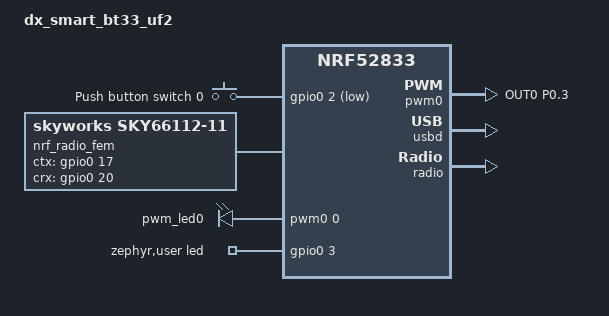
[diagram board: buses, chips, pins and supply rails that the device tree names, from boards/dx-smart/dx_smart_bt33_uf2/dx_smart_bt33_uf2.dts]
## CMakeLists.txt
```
#
# Copyright (c) 2018 Nordic Semiconductor
#
# SPDX-License-Identifier: LicenseRef-Nordic-5-Clause
#
cmake_minimum_required(VERSION 3.20.0)

# Configure VERSION from repository branch and tag
find_package(Git)

if(GIT_EXECUTABLE)
  execute_process(
    COMMAND ${GIT_EXECUTABLE} branch --show-current
    WORKING_DIRECTORY ${CMAKE_SOURCE_DIR}
    OUTPUT_VARIABLE GIT_BRANCH
    )
  execute_process(
    COMMAND ${GIT_EXECUTABLE} describe --dirty --tags --long --match [0-9]*.[0-9]*.[0-9]*
    WORKING_DIRECTORY ${CMAKE_SOURCE_DIR}
    OUTPUT_VARIABLE GIT_VERSION
    )
endif()

if(GIT_BRANCH STREQUAL "")
  set(GIT_BRANCH unknown)
  message(WARNING "Unknown Git Branch")
endif()

if(GIT_VERSION STREQUAL "")
  set(GIT_VERSION 0.0.0-0)
  message(WARNING "Unknown Tag/Version")
endif()

string(STRIP ${GIT_BRANCH} GIT_BRANCH)
string(STRIP ${GIT_VERSION} GIT_VERSION)
string(REPLACE "-" ";" GIT_VERSION ${GIT_VERSION})
list(GET GIT_VERSION 0 GIT_RELEASE)
list(GET GIT_VERSION 1 GIT_TWEAK)
string(REPLACE "v" "" GIT_RELEASE ${GIT_RELEASE})
string(REPLACE "." ";" GIT_RELEASE ${GIT_RELEASE})
list(GET GIT_RELEASE 0 GIT_MAJOR)
list(GET GIT_RELEASE 1 GIT_MINOR)
list(GET GIT_RELEASE 2 GIT_PATCH)

configure_file(${CMAKE_SOURCE_DIR}/VERSION_SRC ${CMAKE_SOURCE_DIR}/VERSION @ONLY)

# Zephyr
find_package(Zephyr REQUIRED HINTS $ENV{ZEPHYR_BASE})
project(NONE)

# NORDIC SDK APP START
FILE(GLOB_RECURSE app_sources src/*.c)
target_sources(app PRIVATE ${app_sources})

# NORDIC SDK APP END

target_include_directories(app PRIVATE src)

# Force recompile for updated build timestamp
add_custom_target(touch_util_h ALL
    COMMAND ${CMAKE_COMMAND} -E touch ${CMAKE_SOURCE_DIR}/src/build_defines.h
)

# clangd wants compile_commands.json in the root of build directory
# try to find the build root clangd will be happy with
cmake_path(GET CMAKE_CURRENT_BINARY_DIR PARENT_PATH build_dir)
cmake_path(COMPARE ${CMAKE_CURRENT_LIST_DIR} NOT_EQUAL ${build_dir} build_dir_is_subdirectory)

if(build_dir_is_subdirectory)
  add_custom_target(link_target ALL
    COMMAND ${CMAKE_COMMAND} -E create_symlink ${CMAKE_CURRENT_BINARY_DIR}/compile_commands.json ${build_dir}/compile_commands.json)
endif()
```

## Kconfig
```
#
# Copyright (c) 2020 Nordic Semiconductor
#
# SPDX-License-Identifier: LicenseRef-Nordic-5-Clause
#

choice
	prompt "Status LED color mapping"
    default LED_TRI_COLOR

config LED_RGB_COLOR
    bool "Use RGB color mapping"
    help
        Use RGB or RG color mapping for LED status if available.

config LED_TRI_COLOR
    bool "Use default color mapping"
    help
        Use the default color mapping for LED status.

endchoice

menu "Status LED default status color"
    depends on LED_RGB_COLOR

config LED_DEFAULT_COLOR_R
    int "Red value"
    range 0 10000
    default 4000
    depends on LED_RGB_COLOR
    help
        Red color for default status.
        Valid range is 0 to 10000.

config LED_DEFAULT_COLOR_G
    int "Green value"
    range 0 10000
    default 6000
    depends on LED_RGB_COLOR
    help
        Green color for default status.
        Valid range is 0 to 10000.

config LED_DEFAULT_COLOR_B
    int "Blue value"
    range 0 10000
    default 0
    depends on LED_RGB_COLOR
    help
        Blue color for default status.
        Valid range is 0 to 10000.

endmenu

config RADIO_TX_POWER
    int "Radio output power (dBm)"
    default 8
    help
        Radio output power level.
        A lower value may reduce power consumption.

config ESB_CHANNEL
    int "Initial ESB channel"
    range 0 100
    default 50
    help
        ESB channel frequency used on initialization.

config BTF_DUT
    bool "Test mode for certification"

source "Kconfig.zephyr"
```

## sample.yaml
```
tests:
  common:
    platform_allow:
      - nrf21540dk/nrf52840
      - nrf52840dk/nrf52840
      - nrf52840dongle/nrf52840
      - xiao_ble/nrf52840
    sysbuild: true
```

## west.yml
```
manifest:
  version: "1.2"
  projects:

    # nRF-Connect SDK
    - name: sdk-nrf
      path: nrf
      url: https://github.com/nrfconnect/sdk-nrf.git
      revision: v3.0-branch
      import: true
```

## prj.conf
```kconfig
#CONFIG_NCS_SAMPLES_DEFAULTS
CONFIG_ASSERT=y
CONFIG_ASSERT_NO_COND_INFO=y
CONFIG_ASSERT_NO_MSG_INFO=y
CONFIG_RESET_ON_FATAL_ERROR=y

CONFIG_NCS_APPLICATION_BOOT_BANNER_STRING="SlimeVR-Tracker-nRF-Receiver"
#CONFIG_NCS_BOOT_BANNER=n
CONFIG_BOOT_BANNER=n

CONFIG_ESB=y
CONFIG_NEWLIB_LIBC=y
CONFIG_CBPRINTF_FP_SUPPORT=y

CONFIG_FPU=y

CONFIG_USB_DEVICE_STACK=y
CONFIG_USB_DEVICE_HID=y
CONFIG_USB_DEVICE_VID=0x1209
CONFIG_USB_DEVICE_PID=0x7690
CONFIG_USB_HID_BOOT_PROTOCOL=y
CONFIG_USB_DEVICE_INITIALIZE_AT_BOOT=n
CONFIG_USB_CDC_ACM=y
CONFIG_UART_INTERRUPT_DRIVEN=y
#CONFIG_USB_WORKQUEUE_STACK_SIZE=512

CONFIG_SERIAL=y
CONFIG_CONSOLE=y
CONFIG_UART_CONSOLE=y
CONFIG_UART_LINE_CTRL=y

CONFIG_USE_SEGGER_RTT=y
CONFIG_LOG=y
#CONFIG_PRINTK=y
CONFIG_LOG_MODE_DEFERRED=y
CONFIG_LOG_SPEED=y
CONFIG_LOG_BACKEND_RTT=y
CONFIG_USB_DRIVER_LOG_LEVEL_WRN=y
CONFIG_USB_DEVICE_LOG_LEVEL_WRN=y
CONFIG_USB_CDC_ACM_LOG_LEVEL_OFF=y
CONFIG_LOG_PROCESS_THREAD_SLEEP_MS=100
CONFIG_LOG_PROCESS_THREAD_STACK_SIZE=1024
CONFIG_LOG_PROCESS_THREAD_STARTUP_DELAY_MS=0

CONFIG_LOG_BACKEND_UART=y
CONFIG_LOG_MODE_DEFERRED=y

CONFIG_CONSOLE_SUBSYS=y
CONFIG_CONSOLE_GETLINE=y

CONFIG_NVS_LOG_LEVEL_WRN=y
CONFIG_USB_HID_LOG_LEVEL_WRN=y

CONFIG_USB_DEVICE_SOF=y
CONFIG_USB_HID_REPORTS=256

CONFIG_USB_HID_POLL_INTERVAL_MS=1
CONFIG_HID_INTERRUPT_EP_MPS=64
CONFIG_ENABLE_HID_INT_OUT_EP=y

CONFIG_GPIO=y
CONFIG_PWM=y

CONFIG_NVS=y

CONFIG_FLASH=y
CONFIG_FLASH_PAGE_LAYOUT=y
CONFIG_FLASH_MAP=y

CONFIG_SETTINGS=y
CONFIG_SETTINGS_NVS=y
CONFIG_SETTINGS_RUNTIME=y
CONFIG_SETTINGS_NONE=y

CONFIG_MPU_ALLOW_FLASH_WRITE=y

CONFIG_NVS_LOOKUP_CACHE=y

CONFIG_ESB_TX_FIFO_SIZE=1

#speed up boot? (use internal rc oscillator)
#CONFIG_CLOCK_CONTROL_NRF_K32SRC_RC=y
#speed up boot? (synthesize lf clock)
CONFIG_CLOCK_CONTROL_NRF_K32SRC_SYNTH=y

# dont need it
CONFIG_CRYPTO=n

CONFIG_THREAD_NAME=y
#CONFIG_SYSTEM_WORKQUEUE_STACK_SIZE=256
CONFIG_MAIN_STACK_SIZE=512

#CONFIG_HEAP_MEM_POOL_SIZE=2048
CONFIG_ISR_STACK_SIZE=1024
```

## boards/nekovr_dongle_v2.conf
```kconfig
CONFIG_USB_DEVICE_MANUFACTURER="NekoVR"
CONFIG_USB_DEVICE_PRODUCT="SlimeNRF Receiver NekoVR"

CONFIG_LED_RGB_COLOR=n
```

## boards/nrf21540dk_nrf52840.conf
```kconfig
CONFIG_USB_DEVICE_MANUFACTURER="Nordic Semiconductor"
CONFIG_USB_DEVICE_PRODUCT="SlimeNRF Receiver nRF21540 DK"
```

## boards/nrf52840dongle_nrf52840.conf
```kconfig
CONFIG_USB_DEVICE_MANUFACTURER="Nordic Semiconductor"
CONFIG_USB_DEVICE_PRODUCT="SlimeNRF Receiver nRF52840 Dongle"

CONFIG_LED_RGB_COLOR=y
CONFIG_USB_DEVICE_STACK_NEXT=n
```

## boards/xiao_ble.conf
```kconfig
CONFIG_USB_DEVICE_MANUFACTURER="Seeed Studio"
CONFIG_USB_DEVICE_PRODUCT="SlimeNRF Receiver XIAO"

CONFIG_LED_RGB_COLOR=y
CONFIG_USB_DEVICE_STACK_NEXT=n
```

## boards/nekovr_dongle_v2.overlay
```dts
/ {

	zephyr,user {
		led-gpios = <&gpio0 27 (GPIO_OPEN_DRAIN|GPIO_ACTIVE_LOW)>;
	};

};

&cryptocell {
	status = "disabled";
};

&nfct {
	status = "disabled";
};
```

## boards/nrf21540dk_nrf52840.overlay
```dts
/ {
	chosen {
		zephyr,console = &cdc_acm_uart0;
		zephyr,shell-uart = &cdc_acm_uart0;
	};
};

zephyr_udc0: &usbd {
	cdc_acm_uart0: cdc_acm_uart0 {
		compatible = "zephyr,cdc-acm-uart";
	};
};
```

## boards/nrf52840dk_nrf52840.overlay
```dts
/ {
	uart-bridge0 {
		compatible = "zephyr,uart-bridge";
		peers = <&cdc_acm_uart1 &uart0>;
	};

	chosen {
		zephyr,console = &cdc_acm_uart0;
		zephyr,shell-uart = &cdc_acm_uart0;
		uart,host = &cdc_acm_uart1;
		uart,passthrough = &uart0;
		uart,esp = &uart1;
	};
};

&uart1 {
	compatible = "nordic,nrf-uarte";
	status = "okay";
	current-speed = <1000000>;
	pinctrl-0 = <&uart1_default>;
	pinctrl-1 = <&uart1_sleep>;
	pinctrl-names = "default", "sleep";
};

zephyr_udc0: &usbd {
	cdc_acm_uart0: cdc_acm_uart0 {
		compatible = "zephyr,cdc-acm-uart";
	};
	cdc_acm_uart1: cdc_acm_uart1 {
		compatible = "zephyr,cdc-acm-uart";
	};
};
```

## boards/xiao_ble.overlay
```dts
&pwm0_default {
	group1 {
		psels = <NRF_PSEL(PWM_OUT0, 0, 26)>,
			<NRF_PSEL(PWM_OUT1, 0, 30)>,
			<NRF_PSEL(PWM_OUT2, 0, 6)>;
		nordic,drive-mode = <NRF_DRIVE_D0S1>;
		nordic,invert;
	};
};

&pwm0_sleep {
	group1 {
		psels = <NRF_PSEL(PWM_OUT0, 0, 26)>,
			<NRF_PSEL(PWM_OUT1, 0, 30)>,
			<NRF_PSEL(PWM_OUT2, 0, 6)>;
	};
};

/ {
	pwmleds {
		pwm_led0: pwm_led_0 {
			pwms = <&pwm0 0 PWM_MSEC(1) PWM_POLARITY_INVERTED>;
		};
		pwm_led1: pwm_led_1 {
			pwms = <&pwm0 1 PWM_MSEC(1) PWM_POLARITY_INVERTED>;
		};
		pwm_led2: pwm_led_2 {
			pwms = <&pwm0 2 PWM_MSEC(1) PWM_POLARITY_INVERTED>;
		};
	};

	aliases {
		pwm-led1 = &pwm_led1;
		pwm-led2 = &pwm_led2;
	};

	zephyr,user {
		led-gpios = <&gpio0 17 (GPIO_OPEN_DRAIN|GPIO_ACTIVE_LOW)>;
	};

};

&cryptocell {
	status = "disabled";
};

&nfct {
	status = "disabled";
};
```

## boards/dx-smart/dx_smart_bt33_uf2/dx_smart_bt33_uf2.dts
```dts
// Copyright (c) 2024 Nordic Semiconductor ASA
// SPDX-License-Identifier: Apache-2.0

/dts-v1/;
#include <nordic/nrf52833_qiaa.dtsi>

//move to dtsi?
&pinctrl {
	pwm0_default: pwm0_default {
		group1 {
			psels = <NRF_PSEL(PWM_OUT0, 0, 3)>;
			nordic,drive-mode = <NRF_DRIVE_D0S1>;
		};
	};

	pwm0_sleep: pwm0_sleep {
		group1 {
			psels = <NRF_PSEL(PWM_OUT0, 0, 3)>;
			low-power-enable;
		};
	};
};
//end

/ {
	model = "dx_smart_bt33_uf2";
	compatible = "dx_smart_bt33_uf2";

	aliases {
		sw0 = &button0;
		pwm-led0 = &pwm_led0;
	};

	buttons {
		compatible = "gpio-keys";
		button0: button_0 {
			gpios = <&gpio0 2 (GPIO_PULL_UP | GPIO_ACTIVE_LOW)>;
			label = "Push button switch 0";
		};
	};

	chosen {
		zephyr,sram = &sram0;
		zephyr,flash = &flash0;
		zephyr,console = &cdc_acm_uart0;
		zephyr,shell-uart = &cdc_acm_uart0;
	};

	nrf_radio_fem: GC1101 {
	    compatible = "skyworks,sky66112-11", "generic-fem-two-ctrl-pins";
	    ctx-gpios = <&gpio0 17 GPIO_ACTIVE_HIGH>;
	    ctx-settle-time-us = <1>;
	    crx-gpios = <&gpio0 20 GPIO_ACTIVE_HIGH>;
	    crx-settle-time-us = <1>;
	    tx-gain-db = <22>;
	    rx-gain-db = <15>;
	};

	pwmleds {
		compatible = "pwm-leds";
		pwm_led0: pwm_led_0 {
			pwms = <&pwm0 0 PWM_MSEC(1) PWM_POLARITY_NORMAL>;
		};
	};

	zephyr,user {
		led-gpios = <&gpio0 3 GPIO_OPEN_SOURCE>;
	};
};

&gpiote {
	status = "okay";
};

&gpio0 {
	status = "okay";
};

&gpio1 {
	status = "okay";
};

&pwm0 {
	status = "okay";
	pinctrl-0 = <&pwm0_default>;
	pinctrl-1 = <&pwm0_sleep>;
	pinctrl-names = "default", "sleep";
};

zephyr_udc0: &usbd {
	compatible = "nordic,nrf-usbd";
	status = "okay";
	cdc_acm_uart0: cdc_acm_uart0 {
		compatible = "zephyr,cdc-acm-uart";
	};
};

&nfct {
	status = "disabled";
};

&radio {
	fem = <&nrf_radio_fem>;
};
```

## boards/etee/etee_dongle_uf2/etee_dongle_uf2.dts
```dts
// Copyright (c) 2024 Nordic Semiconductor ASA
// SPDX-License-Identifier: Apache-2.0

/dts-v1/;
#include <nordic/nrf52840_qiaa.dtsi>

//move to dtsi?
&pinctrl {
	pwm0_default: pwm0_default {
		group1 {
			psels = <NRF_PSEL(PWM_OUT0, 1, 9)>,
				<NRF_PSEL(PWM_OUT1, 1, 15)>,
				<NRF_PSEL(PWM_OUT2, 0, 7)>;
			nordic,drive-mode = <NRF_DRIVE_D0S1>;
			nordic,invert;
		};
	};

	pwm0_sleep: pwm0_sleep {
		group1 {
			psels = <NRF_PSEL(PWM_OUT0, 1, 9)>,
				<NRF_PSEL(PWM_OUT1, 1, 15)>,
				<NRF_PSEL(PWM_OUT2, 0, 7)>;
			low-power-enable;
		};
	};
};
//end

/ {
	model = "etee_dongle_uf2";
	compatible = "etee_dongle_uf2";

	chosen {
		zephyr,sram = &sram0;
		zephyr,flash = &flash0;
		zephyr,console = &cdc_acm_uart0;
		zephyr,shell-uart = &cdc_acm_uart0;
	};

	pwmleds {
		compatible = "pwm-leds";
		pwm_led0: pwm_led_0 {
			pwms = <&pwm0 0 PWM_MSEC(1) PWM_POLARITY_INVERTED>;
		};
		pwm_led1: pwm_led_1 {
			pwms = <&pwm0 1 PWM_MSEC(1) PWM_POLARITY_INVERTED>;
		};
		pwm_led2: pwm_led_2 {
			pwms = <&pwm0 2 PWM_MSEC(1) PWM_POLARITY_INVERTED>;
		};
	};

	aliases {
		pwm-led0 = &pwm_led0;
		pwm-led1 = &pwm_led1;
		pwm-led2 = &pwm_led2;
	};

	zephyr,user {
		led-gpios = <&gpio0 7 (GPIO_ACTIVE_LOW | GPIO_OPEN_DRAIN)>;
		// red 1.09, green 1.15, blue 0.07
	};
};

&reg1 {
	regulator-initial-mode = <NRF5X_REG_MODE_DCDC>;
};

&gpio0 {
	status = "okay";
};

&gpiote {
	status = "okay";
};

&pwm0 {
	status = "okay";
	pinctrl-0 = <&pwm0_default>;
	pinctrl-1 = <&pwm0_sleep>;
	pinctrl-names = "default", "sleep";
};

zephyr_udc0: &usbd {
	compatible = "nordic,nrf-usbd";
	status = "okay";
	cdc_acm_uart0: cdc_acm_uart0 {
		compatible = "zephyr,cdc-acm-uart";
	};
};

&cryptocell {
	status = "disabled";
};

&nfct {
	status = "disabled";
};
```

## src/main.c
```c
/*
	SlimeVR Code is placed under the MIT license
	Copyright (c) 2025 SlimeVR Contributors

	Permission is hereby granted, free of charge, to any person obtaining a copy
	of this software and associated documentation files (the "Software"), to deal
	in the Software without restriction, including without limitation the rights
	to use, copy, modify, merge, publish, distribute, sublicense, and/or sell
	copies of the Software, and to permit persons to whom the Software is
	furnished to do so, subject to the following conditions:

	The above copyright notice and this permission notice shall be included in
	all copies or substantial portions of the Software.

	THE SOFTWARE IS PROVIDED "AS IS", WITHOUT WARRANTY OF ANY KIND, EXPRESS OR
	IMPLIED, INCLUDING BUT NOT LIMITED TO THE WARRANTIES OF MERCHANTABILITY,
	FITNESS FOR A PARTICULAR PURPOSE AND NONINFRINGEMENT. IN NO EVENT SHALL THE
	AUTHORS OR COPYRIGHT HOLDERS BE LIABLE FOR ANY CLAIM, DAMAGES OR OTHER
	LIABILITY, WHETHER IN AN ACTION OF CONTRACT, TORT OR OTHERWISE, ARISING FROM,
	OUT OF OR IN CONNECTION WITH THE SOFTWARE OR THE USE OR OTHER DEALINGS IN
	THE SOFTWARE.
*/
#include "globals.h"
#include "system/system.h"

#include <zephyr/drivers/gpio.h>
#include <zephyr/sys/reboot.h>

LOG_MODULE_REGISTER(main, LOG_LEVEL_INF);

#define DFU_EXISTS CONFIG_BUILD_OUTPUT_UF2 || CONFIG_BOARD_HAS_NRF5_BOOTLOADER
#define ADAFRUIT_BOOTLOADER CONFIG_BUILD_OUTPUT_UF2
#define NRF5_BOOTLOADER CONFIG_BOARD_HAS_NRF5_BOOTLOADER

#if NRF5_BOOTLOADER
static const struct device *gpio_dev = DEVICE_DT_GET(DT_NODELABEL(gpio0));
#endif

int main(void)
{
#if DFU_EXISTS
	if (button_read())
	{
		int64_t start_time = k_uptime_get();
		while (button_read())
		{
			if (k_uptime_get() - start_time > 50)
			{
				LOG_INF("DFU requested");
#if ADAFRUIT_BOOTLOADER
				NRF_POWER->GPREGRET = 0x57;
				sys_reboot(SYS_REBOOT_COLD);
#endif
#if NRF5_BOOTLOADER
				gpio_pin_configure(gpio_dev, 19, GPIO_OUTPUT | GPIO_OUTPUT_INIT_LOW);
#endif
			}
			k_msleep(1);
		}
	}
#endif

	return 0;
}
```

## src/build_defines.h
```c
/*
	SlimeVR Code is placed under the MIT license
	Copyright (c) 2025 SlimeVR Contributors

	Permission is hereby granted, free of charge, to any person obtaining a copy
	of this software and associated documentation files (the "Software"), to deal
	in the Software without restriction, including without limitation the rights
	to use, copy, modify, merge, publish, distribute, sublicense, and/or sell
	copies of the Software, and to permit persons to whom the Software is
	furnished to do so, subject to the following conditions:

	The above copyright notice and this permission notice shall be included in
	all copies or substantial portions of the Software.

	THE SOFTWARE IS PROVIDED "AS IS", WITHOUT WARRANTY OF ANY KIND, EXPRESS OR
	IMPLIED, INCLUDING BUT NOT LIMITED TO THE WARRANTIES OF MERCHANTABILITY,
	FITNESS FOR A PARTICULAR PURPOSE AND NONINFRINGEMENT. IN NO EVENT SHALL THE
	AUTHORS OR COPYRIGHT HOLDERS BE LIABLE FOR ANY CLAIM, DAMAGES OR OTHER
	LIABILITY, WHETHER IN AN ACTION OF CONTRACT, TORT OR OTHERWISE, ARISING FROM,
	OUT OF OR IN CONNECTION WITH THE SOFTWARE OR THE USE OR OTHER DEALINGS IN
	THE SOFTWARE.
*/
#include "app_version.h"

#ifdef CONFIG_NCS_APPLICATION_BOOT_BANNER_STRING
#define FW_NAME CONFIG_NCS_APPLICATION_BOOT_BANNER_STRING
#else
#define FW_NAME "SlimeNRF Receiver"
#endif
#define FW_VERSION_MAJOR APP_VERSION_MAJOR
#define FW_VERSION_MINOR APP_VERSION_MINOR
#define FW_VERSION_PATCH APP_PATCHLEVEL

// https://stackoverflow.com/questions/11697820/how-to-use-date-and-time-predefined-macros-in-as-two-integers-then-stri
#define COMPUTE_BUILD_YEAR \
	( \
		(__DATE__[ 7] - '0') * 1000 + \
		(__DATE__[ 8] - '0') *  100 + \
		(__DATE__[ 9] - '0') *   10 + \
		(__DATE__[10] - '0') \
	)

#define COMPUTE_BUILD_DAY \
	( \
		((__DATE__[4] >= '0') ? (__DATE__[4] - '0') * 10 : 0) + \
		(__DATE__[5] - '0') \
	)

#define BUILD_MONTH_IS_JAN (__DATE__[0] == 'J' && __DATE__[1] == 'a' && __DATE__[2] == 'n')
#define BUILD_MONTH_IS_FEB (__DATE__[0] == 'F')
#define BUILD_MONTH_IS_MAR (__DATE__[0] == 'M' && __DATE__[1] == 'a' && __DATE__[2] == 'r')
#define BUILD_MONTH_IS_APR (__DATE__[0] == 'A' && __DATE__[1] == 'p')
#define BUILD_MONTH_IS_MAY (__DATE__[0] == 'M' && __DATE__[1] == 'a' && __DATE__[2] == 'y')
#define BUILD_MONTH_IS_JUN (__DATE__[0] == 'J' && __DATE__[1] == 'u' && __DATE__[2] == 'n')
#define BUILD_MONTH_IS_JUL (__DATE__[0] == 'J' && __DATE__[1] == 'u' && __DATE__[2] == 'l')
#define BUILD_MONTH_IS_AUG (__DATE__[0] == 'A' && __DATE__[1] == 'u')
#define BUILD_MONTH_IS_SEP (__DATE__[0] == 'S')
#define BUILD_MONTH_IS_OCT (__DATE__[0] == 'O')
#define BUILD_MONTH_IS_NOV (__DATE__[0] == 'N')
#define BUILD_MONTH_IS_DEC (__DATE__[0] == 'D')

#define COMPUTE_BUILD_MONTH \
	( \
		(BUILD_MONTH_IS_JAN) ?  1 : \
		(BUILD_MONTH_IS_FEB) ?  2 : \
		(BUILD_MONTH_IS_MAR) ?  3 : \
		(BUILD_MONTH_IS_APR) ?  4 : \
		(BUILD_MONTH_IS_MAY) ?  5 : \
		(BUILD_MONTH_IS_JUN) ?  6 : \
		(BUILD_MONTH_IS_JUL) ?  7 : \
		(BUILD_MONTH_IS_AUG) ?  8 : \
		(BUILD_MONTH_IS_SEP) ?  9 : \
		(BUILD_MONTH_IS_OCT) ? 10 : \
		(BUILD_MONTH_IS_NOV) ? 11 : \
		(BUILD_MONTH_IS_DEC) ? 12 : \
		/* error default */  99 \
	)

#define COMPUTE_BUILD_HOUR ((__TIME__[0] - '0') * 10 + __TIME__[1] - '0')
#define COMPUTE_BUILD_MIN  ((__TIME__[3] - '0') * 10 + __TIME__[4] - '0')
#define COMPUTE_BUILD_SEC  ((__TIME__[6] - '0') * 10 + __TIME__[7] - '0')

#define BUILD_DATE_IS_BAD (__DATE__[0] == '?')

#define BUILD_YEAR  ((BUILD_DATE_IS_BAD) ? 99 : COMPUTE_BUILD_YEAR)
#define BUILD_MONTH ((BUILD_DATE_IS_BAD) ? 99 : COMPUTE_BUILD_MONTH)
#define BUILD_DAY   ((BUILD_DATE_IS_BAD) ? 99 : COMPUTE_BUILD_DAY)

#define BUILD_TIME_IS_BAD (__TIME__[0] == '?')

#define BUILD_HOUR  ((BUILD_TIME_IS_BAD) ? 99 :  COMPUTE_BUILD_HOUR)
#define BUILD_MIN   ((BUILD_TIME_IS_BAD) ? 99 :  COMPUTE_BUILD_MIN)
#define BUILD_SEC   ((BUILD_TIME_IS_BAD) ? 99 :  COMPUTE_BUILD_SEC)

#define BUILD_TIMESTAMP (((((((BUILD_YEAR - 2020) & 127) * 12 + (BUILD_MONTH & 15)) * 31 + (BUILD_DAY & 31)) * 24 + (BUILD_HOUR & 24)) * 60 + (BUILD_MIN & 60)) * 60 + (BUILD_SEC & 60))

#define TOSTRING(x) STRINGIFY(x)

#define FW_STRING FW_NAME " " APP_VERSION_EXTENDED_STRING "\n"
```

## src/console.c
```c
/*
	SlimeVR Code is placed under the MIT license
	Copyright (c) 2025 SlimeVR Contributors

	Permission is hereby granted, free of charge, to any person obtaining a copy
	of this software and associated documentation files (the "Software"), to deal
	in the Software without restriction, including without limitation the rights
	to use, copy, modify, merge, publish, distribute, sublicense, and/or sell
	copies of the Software, and to permit persons to whom the Software is
	furnished to do so, subject to the following conditions:

	The above copyright notice and this permission notice shall be included in
	all copies or substantial portions of the Software.

	THE SOFTWARE IS PROVIDED "AS IS", WITHOUT WARRANTY OF ANY KIND, EXPRESS OR
	IMPLIED, INCLUDING BUT NOT LIMITED TO THE WARRANTIES OF MERCHANTABILITY,
	FITNESS FOR A PARTICULAR PURPOSE AND NONINFRINGEMENT. IN NO EVENT SHALL THE
	AUTHORS OR COPYRIGHT HOLDERS BE LIABLE FOR ANY CLAIM, DAMAGES OR OTHER
	LIABILITY, WHETHER IN AN ACTION OF CONTRACT, TORT OR OTHERWISE, ARISING FROM,
	OUT OF OR IN CONNECTION WITH THE SOFTWARE OR THE USE OR OTHER DEALINGS IN
	THE SOFTWARE.
*/
#include "globals.h"
#include "system/system.h"
#include "build_defines.h"
#include "parse_args.h"

#define USB DT_NODELABEL(usbd)
#if DT_NODE_HAS_STATUS(USB, okay)

#include <zephyr/drivers/gpio.h>
#include <zephyr/console/console.h>
#include <zephyr/sys/reboot.h>
#include <zephyr/logging/log_ctrl.h>
#include "connection/esb.h"

#include <ctype.h>

LOG_MODULE_REGISTER(console, LOG_LEVEL_INF);

static void console_thread(void);
K_THREAD_DEFINE(console_thread_id, 1024, console_thread, NULL, NULL, NULL, CONSOLE_THREAD_PRIORITY, 0, 0);

#define DFU_EXISTS CONFIG_BUILD_OUTPUT_UF2 || CONFIG_BOARD_HAS_NRF5_BOOTLOADER
#define ADAFRUIT_BOOTLOADER CONFIG_BUILD_OUTPUT_UF2
#define NRF5_BOOTLOADER CONFIG_BOARD_HAS_NRF5_BOOTLOADER

#if NRF5_BOOTLOADER
static const struct device *gpio_dev = DEVICE_DT_GET(DT_NODELABEL(gpio0));
#endif

static const char *meows[] = {
	"Mew",
	"Meww",
	"Meow",
	"Meow meow",
	"Mrrrp",
	"Mrrf",
	"Mreow",
	"Mrrrow",
	"Mrrr",
	"Purr",
	"mew",
	"meww",
	"meow",
	"meow meow",
	"mrrrp",
	"mrrf",
	"mreow",
	"mrrrow",
	"mrrr",
	"purr",
};

static const char *meow_punctuations[] = {
	".",
	"?",
	"!",
	"-",
	"~",
	""
};

static const char *meow_suffixes[] = {
	" :3",
	" :3c",
	" ;3",
	" ;3c",
	" x3",
	" x3c",
	" X3",
	" X3c",
	" >:3",
	" >:3c",
	" >;3",
	" >;3c",
	""
};

static void skip_dfu(void)
{
#if DFU_EXISTS // Using Adafruit bootloader
	NRF_POWER->GPREGRET = 0x6d;
#endif
}

static void print_info(void)
{
	printk(CONFIG_USB_DEVICE_MANUFACTURER " " CONFIG_USB_DEVICE_PRODUCT "\n");
	printk(FW_STRING);
    printk("Commit: " TOSTRING(APP_BUILD_VERSION) "\n");
    printk("Build: %d-%02d-%02d %02d:%02d:%02d\n", BUILD_YEAR, BUILD_MONTH, BUILD_DAY, BUILD_HOUR, BUILD_MIN, BUILD_SEC);

	printk("\nBoard: " CONFIG_BOARD "\n");
	printk("SOC: " CONFIG_SOC "\n");
	printk("Target: " CONFIG_BOARD_TARGET "\n");

	printk("\nDevice address: %012llX\n", *(uint64_t *)NRF_FICR->DEVICEADDR & 0xFFFFFFFFFFFF);
	printk("Channel frequency: %d\n", esb_get_frequency());
}

static void print_uptime(void)
{
	int64_t uptime = k_ticks_to_us_floor64(k_uptime_ticks());

	uint32_t days = uptime / 86400000000;
	uptime %= 86400000000;
	uint8_t hours = uptime / 3600000000;
	uptime %= 3600000000;
	uint8_t minutes = uptime / 60000000;
	uptime %= 60000000;
	uint8_t seconds = uptime / 1000000;
	uptime %= 1000000;
	uint16_t milliseconds = uptime / 1000;
	uint16_t microseconds = uptime %= 1000;

	printk("Uptime: %u.%02u:%02u:%02u.%03u,%03u\n", days, hours, minutes, seconds, milliseconds, microseconds);
}

static void print_meow(void)
{
	int64_t ticks = k_uptime_ticks();

	ticks %= ARRAY_SIZE(meows) * ARRAY_SIZE(meow_punctuations) * ARRAY_SIZE(meow_suffixes); // silly number generator
	uint8_t meow = ticks / (ARRAY_SIZE(meow_punctuations) * ARRAY_SIZE(meow_suffixes));
	ticks %= (ARRAY_SIZE(meow_punctuations) * ARRAY_SIZE(meow_suffixes));
	uint8_t punctuation = ticks / ARRAY_SIZE(meow_suffixes);
	uint8_t suffix = ticks % ARRAY_SIZE(meow_suffixes);

	printk("%s%s%s\n", meows[meow], meow_punctuations[punctuation], meow_suffixes[suffix]);
}

static void print_list(void)
{
	printk("Stored devices:\n");
	for (uint8_t i = 0; i < MAX_TRACKERS; i++)
		if(stored_tracker_addr[i] != 0)
			printk("%012llX\n", stored_tracker_addr[i]);
}

static inline void strtolower(char *str) {
	for(int i = 0; str[i]; i++) {
		str[i] = tolower(str[i]);
	}
}

static void print_help(void)
{
	printk("\nhelp                         Display this help text\n");

	printk("\ninfo                         Get device information\n");
	printk("uptime                       Get device uptime\n");
	printk("list                         Get paired devices\n");
	printk("reboot                       Soft reset the device\n");
	printk("\nadd <address>                Manually add a device\n");
	printk("pair                         Enter pairing mode\n");
	printk("exit                         Exit pairing mode\n");
	printk("clear                        Clear stored devices\n");
#if DFU_EXISTS
	printk("\ndfu                          Enter DFU bootloader\n");
#endif
	printk("\nmeow                         Meow!\n");
}

static void console_thread(void)
{
	console_getline_init();
	while (log_data_pending())
		k_usleep(1);
	k_msleep(100);
	printk("*** " CONFIG_USB_DEVICE_MANUFACTURER " " CONFIG_USB_DEVICE_PRODUCT " ***\n");
	printk(FW_STRING);
	print_help();

	const char command_help[] = "help";

	const char command_info[] = "info";
	const char command_uptime[] = "uptime";
	const char command_list[] = "list";
	const char command_reboot[] = "reboot";
	const char command_add[] = "add";
	const char command_ping[] = "ping";
	const char command_clear[] = "clear";
#if DFU_EXISTS
	const char command_dfu[] = "dfu";
#endif
	const char command_meow[] = "meow";

	while (1) {
		char *line = console_getline();

		char* argv[5] = {NULL}; // command and 4 args
		size_t argc = parse_args(line, argv, ARRAY_SIZE(argv));
		if(argc == 0)
			continue;
		if(argc > 0)
			strtolower(argv[0]); // lower case the command
		if(argc > 1)
			strtolower(argv[1]); // lower case the first argument
		// only care that the first words are matchable

		if (strcmp(argv[0], command_help) == 0)
		{
			print_help();
		}
		else if (strcmp(argv[0], command_info) == 0)
		{
			print_info();
		}
		else if (strcmp(line, command_uptime) == 0)
		{
			print_uptime();
		}
		else if (strcmp(line, command_add) == 0)
		{
			if (argc != 2)
			{
				printk("Invalid number of arguments\n");
				continue;
			}
			uint64_t addr = parse_u64(argv[1], 16);
			uint8_t buf[13];
			snprintk(buf, 13, "%012llx", addr);
			if (addr != 0 && strcmp(buf, argv[1]) == 0)
				esb_add_pair(addr);
			else
				printk("Invalid address\n");
		}
		else if (strcmp(argv[0], command_ping) == 0)
		{
			if (argc != 3)
			{
				printk("Invalid number of arguments\n");
				continue;
			}
			uint64_t addr = parse_u64(argv[1], 16);
			uint64_t channel = parse_u64(argv[2], 10);
			printk("Sending PING to %012llx on channel %d\n", addr, (int) channel);
			esb_ping(addr, channel);
		}
		else if (strcmp(line, command_list) == 0)
		{
			print_list();
		}
		else if (strcmp(line, command_reboot) == 0)
		{
			skip_dfu();
			sys_reboot(SYS_REBOOT_COLD);
		}
		else if (strcmp(line, command_clear) == 0)
		{
			esb_clear();
		}
#if DFU_EXISTS
		else if (strcmp(line, command_dfu) == 0)
		{
#if ADAFRUIT_BOOTLOADER
			NRF_POWER->GPREGRET = 0x57;
			sys_reboot(SYS_REBOOT_COLD);
#endif
#if NRF5_BOOTLOADER
			gpio_pin_configure(gpio_dev, 19, GPIO_OUTPUT | GPIO_OUTPUT_INIT_LOW);
#endif
		}
#endif
		else if (strcmp(line, command_meow) == 0)
		{
			print_meow();
		}
		else
		{
			printk("Unknown command\n");
		}
	}
}

#endif
```

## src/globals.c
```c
/*
	SlimeVR Code is placed under the MIT license
	Copyright (c) 2025 SlimeVR Contributors

	Permission is hereby granted, free of charge, to any person obtaining a copy
	of this software and associated documentation files (the "Software"), to deal
	in the Software without restriction, including without limitation the rights
	to use, copy, modify, merge, publish, distribute, sublicense, and/or sell
	copies of the Software, and to permit persons to whom the Software is
	furnished to do so, subject to the following conditions:

	The above copyright notice and this permission notice shall be included in
	all copies or substantial portions of the Software.

	THE SOFTWARE IS PROVIDED "AS IS", WITHOUT WARRANTY OF ANY KIND, EXPRESS OR
	IMPLIED, INCLUDING BUT NOT LIMITED TO THE WARRANTIES OF MERCHANTABILITY,
	FITNESS FOR A PARTICULAR PURPOSE AND NONINFRINGEMENT. IN NO EVENT SHALL THE
	AUTHORS OR COPYRIGHT HOLDERS BE LIABLE FOR ANY CLAIM, DAMAGES OR OTHER
	LIABILITY, WHETHER IN AN ACTION OF CONTRACT, TORT OR OTHERWISE, ARISING FROM,
	OUT OF OR IN CONNECTION WITH THE SOFTWARE OR THE USE OR OTHER DEALINGS IN
	THE SOFTWARE.
*/
// TODO: get rid of this
#include <stdint.h>
#include "globals.h"
```

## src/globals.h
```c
/*
	SlimeVR Code is placed under the MIT license
	Copyright (c) 2025 SlimeVR Contributors

	Permission is hereby granted, free of charge, to any person obtaining a copy
	of this software and associated documentation files (the "Software"), to deal
	in the Software without restriction, including without limitation the rights
	to use, copy, modify, merge, publish, distribute, sublicense, and/or sell
	copies of the Software, and to permit persons to whom the Software is
	furnished to do so, subject to the following conditions:

	The above copyright notice and this permission notice shall be included in
	all copies or substantial portions of the Software.

	THE SOFTWARE IS PROVIDED "AS IS", WITHOUT WARRANTY OF ANY KIND, EXPRESS OR
	IMPLIED, INCLUDING BUT NOT LIMITED TO THE WARRANTIES OF MERCHANTABILITY,
	FITNESS FOR A PARTICULAR PURPOSE AND NONINFRINGEMENT. IN NO EVENT SHALL THE
	AUTHORS OR COPYRIGHT HOLDERS BE LIABLE FOR ANY CLAIM, DAMAGES OR OTHER
	LIABILITY, WHETHER IN AN ACTION OF CONTRACT, TORT OR OTHERWISE, ARISING FROM,
	OUT OF OR IN CONNECTION WITH THE SOFTWARE OR THE USE OR OTHER DEALINGS IN
	THE SOFTWARE.
*/
#pragma once

#include <zephyr/logging/log.h>

#include "thread_priority.h"
```

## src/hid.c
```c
/*
	SlimeVR Code is placed under the MIT license
	Copyright (c) 2025 SlimeVR Contributors

	Permission is hereby granted, free of charge, to any person obtaining a copy
	of this software and associated documentation files (the "Software"), to deal
	in the Software without restriction, including without limitation the rights
	to use, copy, modify, merge, publish, distribute, sublicense, and/or sell
	copies of the Software, and to permit persons to whom the Software is
	furnished to do so, subject to the following conditions:

	The above copyright notice and this permission notice shall be included in
	all copies or substantial portions of the Software.

	THE SOFTWARE IS PROVIDED "AS IS", WITHOUT WARRANTY OF ANY KIND, EXPRESS OR
	IMPLIED, INCLUDING BUT NOT LIMITED TO THE WARRANTIES OF MERCHANTABILITY,
	FITNESS FOR A PARTICULAR PURPOSE AND NONINFRINGEMENT. IN NO EVENT SHALL THE
	AUTHORS OR COPYRIGHT HOLDERS BE LIABLE FOR ANY CLAIM, DAMAGES OR OTHER
	LIABILITY, WHETHER IN AN ACTION OF CONTRACT, TORT OR OTHERWISE, ARISING FROM,
	OUT OF OR IN CONNECTION WITH THE SOFTWARE OR THE USE OR OTHER DEALINGS IN
	THE SOFTWARE.
*/
#include "globals.h"
#include "connection/esb.h"
#include "connection/messages.h"

#include <zephyr/kernel.h>
#include <zephyr/usb/usb_device.h>
#include <zephyr/usb/class/usb_hid.h>

static struct k_work report_send;
static struct k_work report_read;

struct report_t {
	uint8_t length;
	uint8_t data[64];
};

struct k_msgq reports;
K_MSGQ_DEFINE(reports, sizeof(struct report_t), MAX_TRACKERS * 2, 1);

static const struct device *hdev;
static ATOMIC_DEFINE(hid_ep_in_busy, 1);
static ATOMIC_DEFINE(hid_ep_out_busy, 1);

#define HID_EP_BUSY_FLAG	0
#define REPORT_PERIOD		K_MSEC(1) // streaming reports // TODO: could it be shorter/reduce latency?
#define POLL_PERIOD		K_MSEC(1) // streaming reports // TODO: could it be shorter/reduce latency?
#define HID_EP_REPORT_COUNT 4

uint8_t report_buffer[64];
uint8_t ep_read_buffer[256]; // TODO: no struct // TODO: is possible to read >64 bytes, e.g. a delayed read?

LOG_MODULE_REGISTER(hid_event, LOG_LEVEL_INF);

static void report_event_handler(struct k_timer *dummy);
static K_TIMER_DEFINE(event_timer, report_event_handler, NULL);

static void report_read_handler(struct k_timer *dummy);
static K_TIMER_DEFINE(read_timer, report_read_handler, NULL);

static const uint8_t hid_report_desc[] = {
	HID_USAGE_PAGE(HID_USAGE_GEN_DESKTOP),
	HID_USAGE(HID_USAGE_GEN_DESKTOP_UNDEFINED),
	HID_COLLECTION(HID_COLLECTION_APPLICATION),
		HID_USAGE(HID_USAGE_GEN_DESKTOP_UNDEFINED),
		HID_REPORT_SIZE(8),
		HID_REPORT_COUNT(64),
		HID_INPUT(0x02),
		HID_USAGE(HID_USAGE_GEN_DESKTOP_UNDEFINED),
		HID_REPORT_SIZE(8),
		HID_REPORT_COUNT(64),
		HID_OUTPUT(0x02),
	HID_END_COLLECTION,
};

uint16_t sent_device_addr = 0;
bool usb_enabled = false;
int64_t last_registration_sent = 0;

// associate id and tracker address in legacy protocol
static void packet_device_addr(uint8_t *report, uint16_t id) 
{
	report[0] = 255; // receiver packet 0
	report[1] = id;
	memcpy(&report[2], &stored_tracker_addr[id], 6);
	memset(&report[8], 0, 8); // last 8 bytes unused
}

static void send_report(struct k_work *work)
{
	if (!usb_enabled)
		return;

	bool have_reports = k_msgq_num_used_get(&reports) > 0;

	if (!have_reports && k_uptime_get() - 100 < last_registration_sent) {
		return; // send registrations only every 100ms
	}

	if (!atomic_test_and_set_bit(hid_ep_in_busy, HID_EP_BUSY_FLAG)) {
		last_registration_sent = k_uptime_get();
		int ret, wrote;
		int buffer_index = 0;
		struct report_t report;
		while(true) {
			int ret = k_msgq_peek(&reports, &report);
			if(ret < 0)
				break;
			int buffer_remainder = sizeof(report_buffer) - buffer_index;
			if(buffer_remainder >= report.length) {
				ret = k_msgq_get(&reports, &report, K_NO_WAIT);
				if(ret < 0)
					break;
				memcpy(report_buffer, &report.data, report.length);
				buffer_index += report.length;
			} else {
				break;
			}
		}
		if(current_esb_protocol_version() < P_VERSION_TRANSITIONAL) {
			// Pad remaining report slots with device addr
			while(sizeof(report_buffer) - buffer_index >= 16) {
				packet_device_addr(&report_buffer[buffer_index], sent_device_addr);
				sent_device_addr = (sent_device_addr + 1) % MAX_TRACKERS;
				buffer_index += 16;
			}
		} else {
			// TODO : Pad with RSSI packets
		}

		if(buffer_index > 0) {
			ret = hid_int_ep_write(hdev, report_buffer, buffer_index, &wrote);

			if (ret != 0) {
				/*
				* Do nothing and wait until host has reset the device
				* and hid_ep_in_busy is cleared.
				*/
				LOG_ERR("Failed to submit report: %d", ret);
			}
		}
	}
}

void hid_report_received(uint8_t * report_buffer, int length) {

	for (int offset = 0; offset < length; offset += 16)
	{
		uint8_t *packet = report_buffer + offset;
		uint8_t packet_id = packet[1];
		if(packet_id == 0)
			continue;
		// TODO Lengths???
		// Message is for tracker
		if ((packet_id >= 1) & (packet_id <= 200))
		{
			esb_tracker_message(packet, 16);
		}
		else
		{
			hid_dongle_message(packet, 16);
		}
	}
}

static void read_report(struct k_work *work)
{
	if (!usb_enabled) return;

	int ret, read;

	if (!atomic_test_and_set_bit(hid_ep_out_busy, HID_EP_BUSY_FLAG)) {
		ret = hid_int_ep_read(hdev, (uint8_t *)ep_read_buffer, sizeof(ep_read_buffer), &read);

		if (ret != 0) {
			LOG_ERR("hid_int_ep_read: %d", ret);
		} else {
			//LOG_INF("hid_int_ep_read: %d", read);
			hid_report_received(ep_read_buffer, read);
		}
	} else { // busy with what
		//LOG_DBG("HID OUT endpoint busy");
	}
}

static void int_in_ready_cb(const struct device *dev)
{
	ARG_UNUSED(dev);
	if (!atomic_test_and_clear_bit(hid_ep_in_busy, HID_EP_BUSY_FLAG)) {
		LOG_WRN("IN endpoint callback without preceding buffer write");
	}
	// TODO: can probably immediately write report from here
}

void hid_int_in_ready(void)
{
	int_in_ready_cb(hdev);
}

static void int_out_ready_cb(const struct device *dev)
{
	ARG_UNUSED(dev);
	if (!atomic_test_and_clear_bit(hid_ep_out_busy, HID_EP_BUSY_FLAG)) {
		LOG_WRN("OUT endpoint callback without preceding buffer write");
	}
	// TODO: can probably immediately read report from here
}

/*
 * On Idle callback is available here as an example even if actual use is
 * very limited. In contrast to report_event_handler(),
 * report value is not incremented here.
 */
static void on_idle_cb(const struct device *dev, uint16_t report_id)
{
	LOG_DBG("On idle callback");
	k_work_submit(&report_send);
}

static void report_event_handler(struct k_timer *dummy)
{
	if (usb_enabled)
		k_work_submit(&report_send);
}

static void report_read_handler(struct k_timer *dummy)
{
	if (usb_enabled)
		k_work_submit(&report_read);
}

static void protocol_cb(const struct device *dev, uint8_t protocol)
{
	LOG_INF("New protocol: %s", protocol == HID_PROTOCOL_BOOT ?
		"boot" : "report");
}

static const struct hid_ops ops = {
	.int_in_ready = int_in_ready_cb,
	.int_out_ready = int_out_ready_cb,
	.on_idle = on_idle_cb,
	.protocol_change = protocol_cb,
};

static int composite_pre_init()
{
	hdev = device_get_binding("HID_0");
	if (hdev == NULL) {
		LOG_ERR("Cannot get USB HID Device");
		return -ENODEV;
	}

	LOG_INF("HID Device: dev %p", hdev);

	usb_hid_register_device(hdev, hid_report_desc, sizeof(hid_report_desc),
				&ops);

	atomic_set_bit(hid_ep_in_busy, HID_EP_BUSY_FLAG);
	k_timer_start(&event_timer, REPORT_PERIOD, REPORT_PERIOD);

	atomic_set_bit(hid_ep_out_busy, HID_EP_BUSY_FLAG);
	k_timer_start(&read_timer, POLL_PERIOD, POLL_PERIOD);

	if (usb_hid_set_proto_code(hdev, HID_BOOT_IFACE_CODE_NONE)) {
		LOG_WRN("Failed to set Protocol Code");
	}

	return usb_hid_init(hdev);
}

SYS_INIT(composite_pre_init, APPLICATION, CONFIG_KERNEL_INIT_PRIORITY_DEVICE);

void hid_init(void)
{
	k_work_init(&report_send, send_report);
	k_work_init(&report_read, read_report);
	usb_enabled = true;
}

void hid_write_packet_n(uint8_t *data, size_t size)
{
	struct report_t report;
	report.length = size;
	memcpy(&report.data, data, size);

	k_msgq_put(&reports, &report, K_NO_WAIT);
}
```

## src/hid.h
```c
/*
	SlimeVR Code is placed under the MIT license
	Copyright (c) 2025 SlimeVR Contributors

	Permission is hereby granted, free of charge, to any person obtaining a copy
	of this software and associated documentation files (the "Software"), to deal
	in the Software without restriction, including without limitation the rights
	to use, copy, modify, merge, publish, distribute, sublicense, and/or sell
	copies of the Software, and to permit persons to whom the Software is
	furnished to do so, subject to the following conditions:

	The above copyright notice and this permission notice shall be included in
	all copies or substantial portions of the Software.

	THE SOFTWARE IS PROVIDED "AS IS", WITHOUT WARRANTY OF ANY KIND, EXPRESS OR
	IMPLIED, INCLUDING BUT NOT LIMITED TO THE WARRANTIES OF MERCHANTABILITY,
	FITNESS FOR A PARTICULAR PURPOSE AND NONINFRINGEMENT. IN NO EVENT SHALL THE
	AUTHORS OR COPYRIGHT HOLDERS BE LIABLE FOR ANY CLAIM, DAMAGES OR OTHER
	LIABILITY, WHETHER IN AN ACTION OF CONTRACT, TORT OR OTHERWISE, ARISING FROM,
	OUT OF OR IN CONNECTION WITH THE SOFTWARE OR THE USE OR OTHER DEALINGS IN
	THE SOFTWARE.
*/
#ifndef SLIMENRF_HID
#define SLIMENRF_HID

#include <stdint.h>

void hid_init(void);

void hid_int_in_ready(void);

void hid_write_packet_n(uint8_t *data, size_t size);

#endif
```

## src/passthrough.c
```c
/*
 * Copyright (c) 2024 Argentum Systems Ltd.
 *
 * SPDX-License-Identifier: Apache-2.0
 */

#include <zephyr/kernel.h>
#include <zephyr/device.h>
#include <zephyr/drivers/uart.h>
#include <zephyr/sys/ring_buffer.h>

#include <stdio.h>
#include <string.h>

struct patch_info {
	const uint8_t * const name;

	const struct device *rx_dev;
	struct ring_buf *rx_ring_buf;
	bool rx_error;
	bool rx_overflow;

	const struct device *tx_dev;
};

#define DEV_CONSOLE DEVICE_DT_GET(DT_CHOSEN(uart_host))
#define DEV_OTHER   DEVICE_DT_GET(DT_CHOSEN(uart_passthrough))

#define RING_BUF_SIZE 64

RING_BUF_DECLARE(rb_console, RING_BUF_SIZE);
struct patch_info patch_c2o = {
	.name = "c2o",

	.rx_dev = DEV_CONSOLE,
	.rx_ring_buf = &rb_console,
	.rx_error = false,
	.rx_overflow = false,

	.tx_dev = DEV_OTHER,
};

RING_BUF_DECLARE(rb_other, RING_BUF_SIZE);
struct patch_info patch_o2c = {
	.name = "o2c",

	.rx_dev = DEV_OTHER,
	.rx_ring_buf = &rb_other,
	.rx_error = false,
	.rx_overflow = false,

	.tx_dev = DEV_CONSOLE,
};

static void passthrough_thread(void);
K_THREAD_DEFINE(passthrough_thread_id, 1024, passthrough_thread, NULL, NULL, NULL, 6, 0, 0);

static void uart_cb(const struct device *dev, void *ctx)
{
	struct patch_info *patch = (struct patch_info *)ctx;
	int ret;
	uint8_t *buf;
	uint32_t len;

	while (uart_irq_update(patch->rx_dev) > 0) {
		ret = uart_irq_rx_ready(patch->rx_dev);
		if (ret < 0) {
			patch->rx_error = true;
		}
		if (ret <= 0) {
			break;
		}

		len = ring_buf_put_claim(patch->rx_ring_buf, &buf, RING_BUF_SIZE);
		if (len == 0) {
			/* no space for Rx, disable the IRQ */
			uart_irq_rx_disable(patch->rx_dev);
			patch->rx_overflow = true;
			break;
		}

		ret = uart_fifo_read(patch->rx_dev, buf, len);
		if (ret < 0) {
			patch->rx_error = true;
		}
		if (ret <= 0) {
			break;
		}
		len = ret;

		ret = ring_buf_put_finish(patch->rx_ring_buf, len);
		if (ret != 0) {
			patch->rx_error = true;
			break;
		}
	}
}

static void passthrough(struct patch_info *patch)
{
	int ret;
	uint8_t *buf;
	uint32_t len;

	if (patch->rx_error) {
		printk("<<%s: Rx Error!>>\n", patch->name);
		patch->rx_error = false;
	}

	if (patch->rx_overflow) {
		printk("<<%s: Rx Overflow!>>\n", patch->name);
		patch->rx_overflow = false;
	}

	len = ring_buf_get_claim(patch->rx_ring_buf, &buf, RING_BUF_SIZE);
	if (len == 0) {
		goto done;
	}

	ret = uart_fifo_fill(patch->tx_dev, buf, len);
	if (ret < 0) {
		goto error;
	}
	len = ret;

	ret = ring_buf_get_finish(patch->rx_ring_buf, len);
	if (ret < 0) {
		goto error;
	}

done:
	uart_irq_rx_enable(patch->rx_dev);
	return;

error:
	printk("<<%s: Tx Error!>>\n", patch->name);
}

static void passthrough_thread(void)
{
	printk("Console Device: %p\n", patch_c2o.rx_dev);
	printk("Other Device:   %p\n", patch_o2c.rx_dev);

	uart_irq_callback_user_data_set(patch_c2o.rx_dev, uart_cb, (void *)&patch_c2o);
	uart_irq_callback_user_data_set(patch_o2c.rx_dev, uart_cb, (void *)&patch_o2c);

	for (;;) {
		passthrough(&patch_c2o);
		passthrough(&patch_o2c);
	}
}
```

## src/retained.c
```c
/*
 * Copyright (c) 2021 Nordic Semiconductor ASA
 *
 * SPDX-License-Identifier: Apache-2.0
 */

#include "retained.h"

#include <hal/nrf_power.h>
#include <string.h>
#include <zephyr/devicetree.h>
#include <zephyr/kernel.h>
#include <zephyr/sys/byteorder.h>
#include <zephyr/sys/crc.h>

/* nRF52 RAM (really, RAM AHB slaves) are partitioned as:
 * * Up to 8 blocks of two 4 KiBy byte "small" sections
 * * A 9th block of with 32 KiBy "large" sections
 *
 * At time of writing the maximum number of large sections is 6, all
 * within the first large block.  Theoretically there could be more
 * sections in the 9th block, and possibly more blocks.
 */

/* Inclusive address of RAM start */
#define SRAM_BEGIN (uintptr_t) DT_REG_ADDR(DT_NODELABEL(sram0))

/* Exclusive address of RAM end */
#define SRAM_END (SRAM_BEGIN + (uintptr_t)DT_REG_SIZE(DT_NODELABEL(sram0)))

/* Size of a controllable RAM section in the small blocks */
#define SMALL_SECTION_SIZE 4096

/* Number of controllable RAM sections in each of the lower blocks */
#define SMALL_SECTIONS_PER_BLOCK 2

/* Span of a small block */
#define SMALL_BLOCK_SIZE (SMALL_SECTIONS_PER_BLOCK * SMALL_SECTION_SIZE)

/* Number of small blocks */
#define SMALL_BLOCK_COUNT 8

/* Span of the SRAM area covered by small sections */
#define SMALL_SECTION_SPAN (SMALL_BLOCK_COUNT * SMALL_BLOCK_SIZE)

/* Inclusive address of the RAM range covered by large sections */
#define LARGE_SECTION_BEGIN (SRAM_BEGIN + SMALL_SECTION_SPAN)

/* Size of a controllable RAM section in large blocks */
#define LARGE_SECTION_SIZE 32768

/* Set or clear RAM retention in SYSTEM_OFF for the provided object.
 *
 * @note This only works for nRF52 with the POWER module.  The other
 * Nordic chips use a different low-level API, which is not currently
 * used by this function.
 *
 * @param ptr pointer to the start of the retainable object
 *
 * @param len length of the retainable object
 *
 * @param enable true to enable retention, false to clear retention
 */
int ram_range_retain(const void* ptr, size_t len, bool enable) {
	uintptr_t addr = (uintptr_t)ptr;
	uintptr_t addr_end = addr + len;

	/* Error if the provided range is empty or doesn't lie
	 * entirely within the SRAM address space.
	 */
	if ((len == 0U) || (addr < SRAM_BEGIN) || (addr > (SRAM_END - len))) {
		return -EINVAL;
	}

	/* Iterate over each section covered by the range, setting the
	 * corresponding RAM OFF retention bit in the parent block.
	 */
	do {
		uintptr_t block_base = SRAM_BEGIN;
		uint32_t section_size = SMALL_SECTION_SIZE;
		uint32_t sections_per_block = SMALL_SECTIONS_PER_BLOCK;
		bool is_large = (addr >= LARGE_SECTION_BEGIN);
		uint8_t block = 0;

		if (is_large) {
			block = 8;
			block_base = LARGE_SECTION_BEGIN;
			section_size = LARGE_SECTION_SIZE;

			/* RAM[x] supports only 16 sections, each its own bit
			 * for POWER (0..15) and RETENTION (16..31).  We don't
			 * know directly how many sections are present, so
			 * assume they all are; the true limit will be
			 * determined by the SRAM size.
			 */
			sections_per_block = 16;
		}

		uint32_t section = (addr - block_base) / section_size;

		if (section >= sections_per_block) {
			block += section / sections_per_block;
			section %= sections_per_block;
		}

		uint32_t section_mask
			= (POWER_RAM_POWERSET_S0RETENTION_On
			   << (section + POWER_RAM_POWERSET_S0RETENTION_Pos));

		if (enable) {
			nrf_power_rampower_mask_on(NRF_POWER, block, section_mask);
		} else {
			nrf_power_rampower_mask_off(NRF_POWER, block, section_mask);
		}

		/* Move to the first address in the next section. */
		addr += section_size - (addr % section_size);
	} while (addr < addr_end);

	return 0;
}
```

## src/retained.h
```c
/*
 * Copyright (c) 2021 Nordic Semiconductor ASA
 *
 * SPDX-License-Identifier: Apache-2.0
 */

#ifndef RETAINED_H_
#define RETAINED_H_

#include <inttypes.h>
#include <stdbool.h>
#include <stddef.h>

int ram_range_retain(const void* ptr, size_t len, bool enable);

#endif /* RETAINED_H_ */
```

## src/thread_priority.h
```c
/* Negative priority is cooperative
   Non-negative priority is preemptible (such as during any k_sleep)
   Higher value is lower priority
*/
#define CONSOLE_THREAD_PRIORITY 6
#define HID_DROPPED_REPORTS_LOGGING_PRIORITY 6
#define USB_INIT_THREAD_PRIORITY 6
#define ESB_THREAD_PRIORITY 6
#define LED_THREAD_PRIORITY 6
#define STATUS_THREAD_PRIORITY 6
```

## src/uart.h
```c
/*
	SlimeVR Code is placed under the MIT license
	Copyright (c) 2025 SlimeVR Contributors

	Permission is hereby granted, free of charge, to any person obtaining a copy
	of this software and associated documentation files (the "Software"), to deal
	in the Software without restriction, including without limitation the rights
	to use, copy, modify, merge, publish, distribute, sublicense, and/or sell
	copies of the Software, and to permit persons to whom the Software is
	furnished to do so, subject to the following conditions:

	The above copyright notice and this permission notice shall be included in
	all copies or substantial portions of the Software.

	THE SOFTWARE IS PROVIDED "AS IS", WITHOUT WARRANTY OF ANY KIND, EXPRESS OR
	IMPLIED, INCLUDING BUT NOT LIMITED TO THE WARRANTIES OF MERCHANTABILITY,
	FITNESS FOR A PARTICULAR PURPOSE AND NONINFRINGEMENT. IN NO EVENT SHALL THE
	AUTHORS OR COPYRIGHT HOLDERS BE LIABLE FOR ANY CLAIM, DAMAGES OR OTHER
	LIABILITY, WHETHER IN AN ACTION OF CONTRACT, TORT OR OTHERWISE, ARISING FROM,
	OUT OF OR IN CONNECTION WITH THE SOFTWARE OR THE USE OR OTHER DEALINGS IN
	THE SOFTWARE.
*/
#ifndef SLIMENRF_UART
#define SLIMENRF_UART

#include <stdint.h>

void uart_write_packet_n(uint8_t *data, uint8_t rssi);

#endif
```
